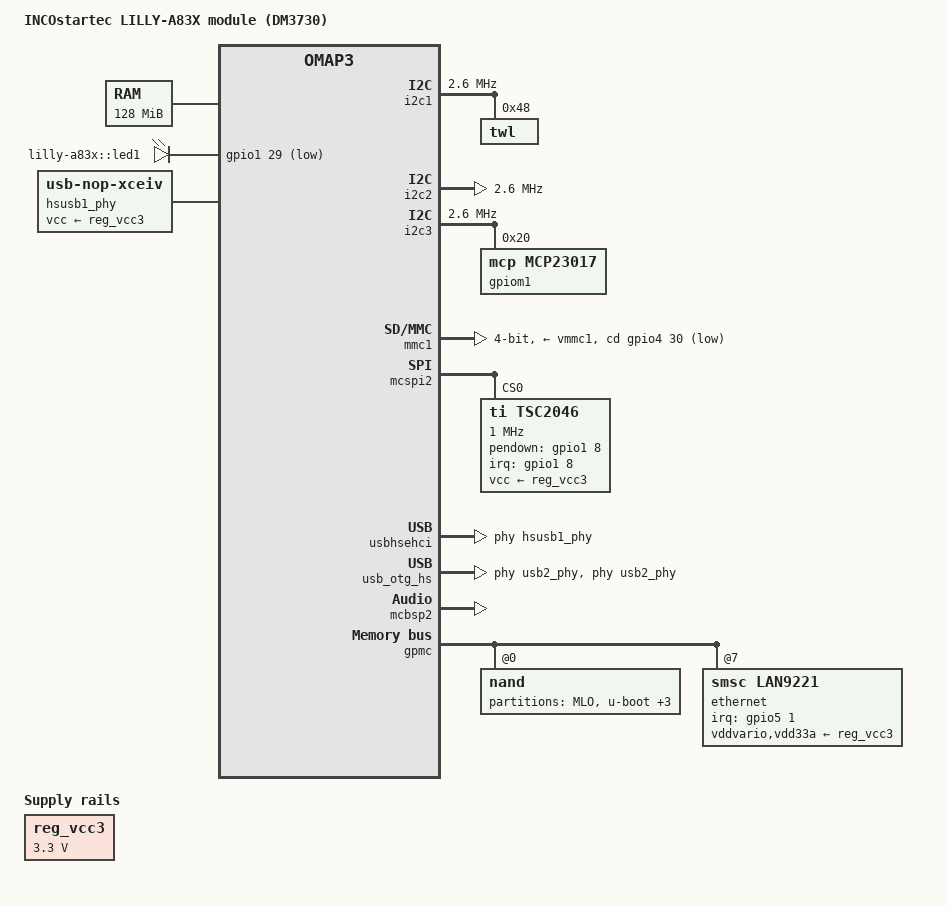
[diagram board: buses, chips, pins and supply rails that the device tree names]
/*
 * Copyright (C) 2014 Christoph Fritz <chf.fritzc@googlemail.com>
 *
 * This program is free software; you can redistribute it and/or modify
 * it under the terms of the GNU General Public License as published by
 * the Free Software Foundation; either version 2 of the License, or
 * (at your option) any later version.
 */

#include "omap36xx.dtsi"

/ {
	model = "INCOstartec LILLY-A83X module (DM3730)";
	compatible = "incostartec,omap3-lilly-a83x", "ti,omap36xx", "ti,omap3";

	chosen {
			bootargs = "console=ttyO0,115200n8 vt.global_cursor_default=0 consoleblank=0";
	};

	memory {
		device_type = "memory";
		reg = <0x80000000 0x8000000>;   /* 128 MB */
	};

	leds {
		compatible = "gpio-leds";

		led1 {
			label = "lilly-a83x::led1";
			gpios = <&gpio1 29 GPIO_ACTIVE_LOW>;
			linux,default-trigger = "default-on";
		};

	};

	sound {
		compatible = "ti,omap-twl4030";
		ti,model = "lilly-a83x";

		ti,mcbsp = <&mcbsp2>;
	};

	reg_vcc3: vcc3 {
		compatible = "regulator-fixed";
		regulator-name = "VCC3";
		regulator-min-microvolt = <3300000>;
		regulator-max-microvolt = <3300000>;
		regulator-always-on;
	};

	hsusb1_phy: hsusb1_phy {
		compatible = "usb-nop-xceiv";
		vcc-supply = <&reg_vcc3>;
	};
};

&omap3_pmx_wkup {
	pinctrl-names = "default";

	lan9221_pins: pinmux_lan9221_pins {
		pinctrl-single,pins = <
			OMAP3_WKUP_IOPAD(0x2a5a, PIN_INPUT | MUX_MODE4)   /* reserved.gpio_129 */
		>;
	};

	tsc2048_pins: pinmux_tsc2048_pins {
		pinctrl-single,pins = <
			OMAP3_WKUP_IOPAD(0x2a16, PIN_INPUT_PULLUP | MUX_MODE4)   /* sys_boot6.gpio_8 */
		>;
	};

	mmc1cd_pins: pinmux_mmc1cd_pins {
		pinctrl-single,pins = <
			OMAP3_WKUP_IOPAD(0x2a56, PIN_INPUT | MUX_MODE4)   /* reserved.gpio_126 */
		>;
	};
};

&omap3_pmx_core {
	pinctrl-names = "default";

	uart1_pins: pinmux_uart1_pins {
		pinctrl-single,pins = <
			OMAP3_CORE1_IOPAD(0x217c, PIN_OUTPUT | MUX_MODE0)   /* uart1_tx.uart1_tx */
			OMAP3_CORE1_IOPAD(0x217e, PIN_OUTPUT | MUX_MODE0)   /* uart1_rts.uart1_rts */
			OMAP3_CORE1_IOPAD(0x2180, PIN_INPUT | MUX_MODE0)    /* uart1_cts.uart1_cts */
			OMAP3_CORE1_IOPAD(0x2182, PIN_INPUT | MUX_MODE0)    /* uart1_rx.uart1_rx */
		>;
	};

	uart2_pins: pinmux_uart2_pins {
		pinctrl-single,pins = <
			OMAP3_CORE1_IOPAD(0x2170, PIN_OUTPUT | MUX_MODE1)   /* mcbsp3_clkx.uart2_tx */
			OMAP3_CORE1_IOPAD(0x2172, PIN_INPUT | MUX_MODE1)    /* mcbsp3_fsx.uart2_rx */
		>;
	};

	uart3_pins: pinmux_uart3_pins {
		pinctrl-single,pins = <
			OMAP3_CORE1_IOPAD(0x219e, PIN_INPUT | MUX_MODE0)    /* uart3_rx_irrx.uart3_rx_irrx */
			OMAP3_CORE1_IOPAD(0x21a0, PIN_OUTPUT | MUX_MODE0)   /* uart3_tx_irtx.uart3_tx_irtx */
		>;
	};

	i2c1_pins: pinmux_i2c1_pins {
		pinctrl-single,pins = <
			OMAP3_CORE1_IOPAD(0x21ba ,PIN_INPUT_PULLUP | MUX_MODE0)    /* i2c1_scl.i2c1_scl */
			OMAP3_CORE1_IOPAD(0x21bc ,PIN_INPUT_PULLUP | MUX_MODE0)    /* i2c1_sda.i2c1_sda */
		>;
	};

	i2c2_pins: pinmux_i2c2_pins {
		pinctrl-single,pins = <
			OMAP3_CORE1_IOPAD(0x21be, PIN_INPUT | MUX_MODE0)   /* i2c2_scl.i2c2_scl */
			OMAP3_CORE1_IOPAD(0x21c0, PIN_INPUT | MUX_MODE0)   /* i2c2_sda.i2c2_sda */
		>;
	};

	i2c3_pins: pinmux_i2c3_pins {
		pinctrl-single,pins = <
			OMAP3_CORE1_IOPAD(0x21c2, PIN_INPUT | MUX_MODE0)   /* i2c3_scl.i2c3_scl */
			OMAP3_CORE1_IOPAD(0x21c4, PIN_INPUT | MUX_MODE0)   /* i2c3_sda.i2c3_sda */
		>;
	};

	hsusb1_pins: pinmux_hsusb1_pins {
		pinctrl-single,pins = <

			/* GPIO 182 controls USB-Hub reset. But USB-Phy its
			 * reset can't be controlled. So we clamp this GPIO to
			 * high (PIN_OFF_OUTPUT_HIGH) to always enable USB-Hub.
			 */

			OMAP3_CORE1_IOPAD(0x21de, PIN_OUTPUT_PULLUP | PIN_OFF_OUTPUT_HIGH | MUX_MODE4)   /* mcspi2_cs1.gpio_182 */
		>;
	};

	hsusb_otg_pins: pinmux_hsusb_otg_pins {
		pinctrl-single,pins = <
			OMAP3_CORE1_IOPAD(0x21a2, PIN_INPUT | MUX_MODE0)   /* hsusb0_clk.hsusb0_clk */
			OMAP3_CORE1_IOPAD(0x21a4, PIN_OUTPUT | MUX_MODE0)  /* hsusb0_stp.hsusb0_stp */
			OMAP3_CORE1_IOPAD(0x21a6, PIN_INPUT | MUX_MODE0)   /* hsusb0_dir.hsusb0_dir */
			OMAP3_CORE1_IOPAD(0x21a8, PIN_INPUT | MUX_MODE0)   /* hsusb0_nxt.hsusb0_nxt */
			OMAP3_CORE1_IOPAD(0x21aa, PIN_INPUT | MUX_MODE0)   /* hsusb0_data0.hsusb0_data0 */
			OMAP3_CORE1_IOPAD(0x21ac, PIN_INPUT | MUX_MODE0)   /* hsusb0_data1.hsusb0_data1 */
			OMAP3_CORE1_IOPAD(0x21ae, PIN_INPUT | MUX_MODE0)   /* hsusb0_data2.hsusb0_data2 */
			OMAP3_CORE1_IOPAD(0x21b0, PIN_INPUT | MUX_MODE0)   /* hsusb0_data3.hsusb0_data3 */
			OMAP3_CORE1_IOPAD(0x21b2, PIN_INPUT | MUX_MODE0)   /* hsusb0_data4.hsusb0_data4 */
			OMAP3_CORE1_IOPAD(0x21b4, PIN_INPUT | MUX_MODE0)   /* hsusb0_data5.hsusb0_data5 */
			OMAP3_CORE1_IOPAD(0x21b6, PIN_INPUT | MUX_MODE0)   /* hsusb0_data6.hsusb0_data6 */
			OMAP3_CORE1_IOPAD(0x21b8, PIN_INPUT | MUX_MODE0)   /* hsusb0_data7.hsusb0_data7 */
		>;
	};

	mmc1_pins: pinmux_mmc1_pins {
		pinctrl-single,pins = <
			OMAP3_CORE1_IOPAD(0x2144, PIN_INPUT_PULLUP | MUX_MODE0)   /* sdmmc1_clk.sdmmc1_clk */
			OMAP3_CORE1_IOPAD(0x2146, PIN_INPUT_PULLUP | MUX_MODE0)   /* sdmmc1_cmd.sdmmc1_cmd */
			OMAP3_CORE1_IOPAD(0x2148, PIN_INPUT_PULLUP | MUX_MODE0)   /* sdmmc1_dat0.sdmmc1_dat0 */
			OMAP3_CORE1_IOPAD(0x214a, PIN_INPUT_PULLUP | MUX_MODE0)   /* sdmmc1_dat1.sdmmc1_dat1 */
			OMAP3_CORE1_IOPAD(0x214c, PIN_INPUT_PULLUP | MUX_MODE0)   /* sdmmc1_dat2.sdmmc1_dat2 */
			OMAP3_CORE1_IOPAD(0x214e, PIN_INPUT_PULLUP | MUX_MODE0)   /* sdmmc1_dat3.sdmmc1_dat3 */
		>;
	};

	spi2_pins: pinmux_spi2_pins {
		pinctrl-single,pins = <
			OMAP3_CORE1_IOPAD(0x21d6, PIN_INPUT_PULLDOWN | MUX_MODE0)   /* mcspi2_clk.mcspi2_clk */
			OMAP3_CORE1_IOPAD(0x21d8, PIN_INPUT_PULLDOWN | MUX_MODE0)   /* mcspi2_simo.mcspi2_simo */
			OMAP3_CORE1_IOPAD(0x21da, PIN_INPUT_PULLDOWN | MUX_MODE0)   /* mcspi2_somi.mcspi2_somi */
			OMAP3_CORE1_IOPAD(0x21dc, PIN_OUTPUT | MUX_MODE0)   /* mcspi2_cs0.mcspi2_cs0 */
		>;
	};
};

&omap3_pmx_core2 {
	pinctrl-names = "default";

	hsusb1_2_pins: pinmux_hsusb1_2_pins {
		pinctrl-single,pins = <
			OMAP3630_CORE2_IOPAD(0x25d8, PIN_OUTPUT | MUX_MODE3)  /* etk_clk.hsusb1_stp */
			OMAP3630_CORE2_IOPAD(0x25da, PIN_INPUT | MUX_MODE3)   /* etk_ctl.hsusb1_clk */
			OMAP3630_CORE2_IOPAD(0x25dc, PIN_INPUT | MUX_MODE3)   /* etk_d0.hsusb1_data0 */
			OMAP3630_CORE2_IOPAD(0x25de, PIN_INPUT | MUX_MODE3)   /* etk_d1.hsusb1_data1 */
			OMAP3630_CORE2_IOPAD(0x25e0, PIN_INPUT | MUX_MODE3)   /* etk_d2.hsusb1_data2 */
			OMAP3630_CORE2_IOPAD(0x25e2, PIN_INPUT | MUX_MODE3)   /* etk_d3.hsusb1_data7 */
			OMAP3630_CORE2_IOPAD(0x25e4, PIN_INPUT | MUX_MODE3)   /* etk_d4.hsusb1_data4 */
			OMAP3630_CORE2_IOPAD(0x25e6, PIN_INPUT | MUX_MODE3)   /* etk_d5.hsusb1_data5 */
			OMAP3630_CORE2_IOPAD(0x25e8, PIN_INPUT | MUX_MODE3)   /* etk_d6.hsusb1_data6 */
			OMAP3630_CORE2_IOPAD(0x25ea, PIN_INPUT | MUX_MODE3)   /* etk_d7.hsusb1_data3 */
			OMAP3630_CORE2_IOPAD(0x25ec, PIN_INPUT | MUX_MODE3)   /* etk_d8.hsusb1_dir */
			OMAP3630_CORE2_IOPAD(0x25ee, PIN_INPUT | MUX_MODE3)   /* etk_d9.hsusb1_nxt */
		>;
	};

	gpio1_pins: pinmux_gpio1_pins {
		pinctrl-single,pins = <
			OMAP3630_CORE2_IOPAD(0x25fa, PIN_OUTPUT_PULLDOWN | MUX_MODE4)   /* etk_d15.gpio_29 */
		>;
	};

};

&gpio1 {
	pinctrl-names = "default";
	pinctrl-0 = <&gpio1_pins>;
};

&gpio6 {
	pinctrl-names = "default";
	pinctrl-0 = <&hsusb1_pins>;
};

&i2c1 {
	clock-frequency = <2600000>;
	pinctrl-names = "default";
	pinctrl-0 = <&i2c1_pins>;

	twl: twl@48 {
		reg = <0x48>;
		interrupts = <7>;   /* SYS_NIRQ cascaded to intc */
		interrupt-parent = <&intc>;

		twl_audio: audio {
			compatible = "ti,twl4030-audio";
			codec {
			};
		};
	};
};

#include "twl4030.dtsi"
#include "twl4030_omap3.dtsi"

&twl {
	vmmc1: regulator-vmmc1 {
		regulator-always-on;
	};

	vdd1: regulator-vdd1 {
		regulator-always-on;
	};

	vdd2: regulator-vdd2 {
		regulator-always-on;
	};
};

&i2c2 {
	clock-frequency = <2600000>;
	pinctrl-names = "default";
	pinctrl-0 = <&i2c2_pins>;
};

&i2c3 {
	clock-frequency = <2600000>;
	pinctrl-names = "default";
	pinctrl-0 = <&i2c3_pins>;
		gpiom1: gpio@20 {
			compatible = "mcp,mcp23017";
			gpio-controller;
			#gpio-cells = <2>;
			reg = <0x20>;
		};
};

&uart1 {
	pinctrl-names = "default";
	pinctrl-0 = <&uart1_pins>;
};

&uart2 {
	pinctrl-names = "default";
	pinctrl-0 = <&uart2_pins>;
};

&uart3 {
	pinctrl-names = "default";
	pinctrl-0 = <&uart3_pins>;
};

&uart4 {
	status = "disabled";
};

&mmc1 {
	cd-gpios = <&gpio4 30 IRQ_TYPE_LEVEL_LOW>;
	cd-inverted;
	vmmc-supply = <&vmmc1>;
	bus-width = <4>;
	pinctrl-names = "default";
	pinctrl-0 = <&mmc1_pins &mmc1cd_pins>;
	cap-sdio-irq;
	cap-sd-highspeed;
	cap-mmc-highspeed;
};

&mmc2 {
	status = "disabled";
};

&mmc3 {
	status = "disabled";
};

&mcspi2 {
	status = "okay";
	pinctrl-names = "default";
	pinctrl-0 = <&spi2_pins>;

	tsc2046@0 {
		reg = <0>;   /* CS0 */
		compatible = "ti,tsc2046";
		interrupt-parent = <&gpio1>;
		interrupts = <8 0>;   /* boot6 / gpio_8 */
		spi-max-frequency = <1000000>;
		pendown-gpio = <&gpio1 8 0>;
		vcc-supply = <&reg_vcc3>;
		pinctrl-names = "default";
		pinctrl-0 = <&tsc2048_pins>;

		ti,x-min = <300>;
		ti,x-max = <3000>;
		ti,y-min = <600>;
		ti,y-max = <3600>;
		ti,x-plate-ohms = <80>;
		ti,pressure-max = <255>;
		ti,swap-xy;

		linux,wakeup;
	};
};

&usbhsehci {
	phys = <&hsusb1_phy>;
};

&usbhshost {
	pinctrl-names = "default";
	pinctrl-0 = <&hsusb1_2_pins>;
	num-ports = <2>;
	port1-mode = "ehci-phy";
};

&usb_otg_hs {
	pinctrl-names = "default";
	pinctrl-0 = <&hsusb_otg_pins>;
	interface-type = <0>;
	usb-phy = <&usb2_phy>;
	phys = <&usb2_phy>;
	phy-names = "usb2-phy";
	mode = <3>;
	power = <50>;
};

&mcbsp2 {
	status = "okay";
};

&gpmc {
	ranges = <0 0 0x30000000 0x1000000>,
		<7 0 0x15000000 0x01000000>;

	nand@0,0 {
		reg = <0 0 4>;	/* CS0, offset 0, IO size 4 */
		nand-bus-width = <16>;
		ti,nand-ecc-opt = "bch8";
		/* no elm on omap3 */

		gpmc,mux-add-data = <0>;
		gpmc,device-width = <2>;
		gpmc,wait-pin = <0>;
		gpmc,wait-monitoring-ns = <0>;
		gpmc,burst-length= <4>;
		gpmc,cs-on-ns = <0>;
		gpmc,cs-rd-off-ns = <100>;
		gpmc,cs-wr-off-ns = <100>;
		gpmc,adv-on-ns = <0>;
		gpmc,adv-rd-off-ns = <100>;
		gpmc,adv-wr-off-ns = <100>;
		gpmc,oe-on-ns = <5>;
		gpmc,oe-off-ns = <75>;
		gpmc,we-on-ns = <5>;
		gpmc,we-off-ns = <75>;
		gpmc,rd-cycle-ns = <100>;
		gpmc,wr-cycle-ns = <100>;
		gpmc,access-ns = <60>;
		gpmc,page-burst-access-ns = <5>;
		gpmc,bus-turnaround-ns = <0>;
		gpmc,cycle2cycle-samecsen;
		gpmc,cycle2cycle-delay-ns = <50>;
		gpmc,wr-data-mux-bus-ns = <75>;
		gpmc,wr-access-ns = <155>;

		#address-cells = <1>;
		#size-cells = <1>;

		partition@0 {
			label = "MLO";
			reg = <0 0x80000>;
		};

		partition@0x80000 {
			label = "u-boot";
			reg = <0x80000 0x1e0000>;
		};

		partition@0x260000 {
			label = "u-boot-environment";
			reg = <0x260000 0x20000>;
		};

		partition@0x280000 {
			label = "kernel";
			reg = <0x280000 0x500000>;
		};

		partition@0x780000 {
			label = "filesystem";
			reg = <0x780000 0xf880000>;
		};
	};

	ethernet@7,0 {
		compatible = "smsc,lan9221", "smsc,lan9115";
		bank-width = <2>;
		gpmc,mux-add-data = <2>;
		gpmc,cs-on-ns = <10>;
		gpmc,cs-rd-off-ns = <60>;
		gpmc,cs-wr-off-ns = <60>;
		gpmc,adv-on-ns = <0>;
		gpmc,adv-rd-off-ns = <10>;
		gpmc,adv-wr-off-ns = <10>;
		gpmc,oe-on-ns = <10>;
		gpmc,oe-off-ns = <60>;
		gpmc,we-on-ns = <10>;
		gpmc,we-off-ns = <60>;
		gpmc,rd-cycle-ns = <100>;
		gpmc,wr-cycle-ns = <100>;
		gpmc,access-ns = <50>;
		gpmc,page-burst-access-ns = <5>;
		gpmc,bus-turnaround-ns = <0>;
		gpmc,cycle2cycle-delay-ns = <75>;
		gpmc,wr-data-mux-bus-ns = <15>;
		gpmc,wr-access-ns = <75>;
		gpmc,cycle2cycle-samecsen;
		gpmc,cycle2cycle-diffcsen;
		vddvario-supply = <&reg_vcc3>;
		vdd33a-supply = <&reg_vcc3>;
		reg-io-width = <4>;
		interrupt-parent = <&gpio5>;
		interrupts = <1 0x2>;
		reg = <7 0 0xff>;
		pinctrl-names = "default";
		pinctrl-0 = <&lan9221_pins>;
		phy-mode = "mii";
	};
};
